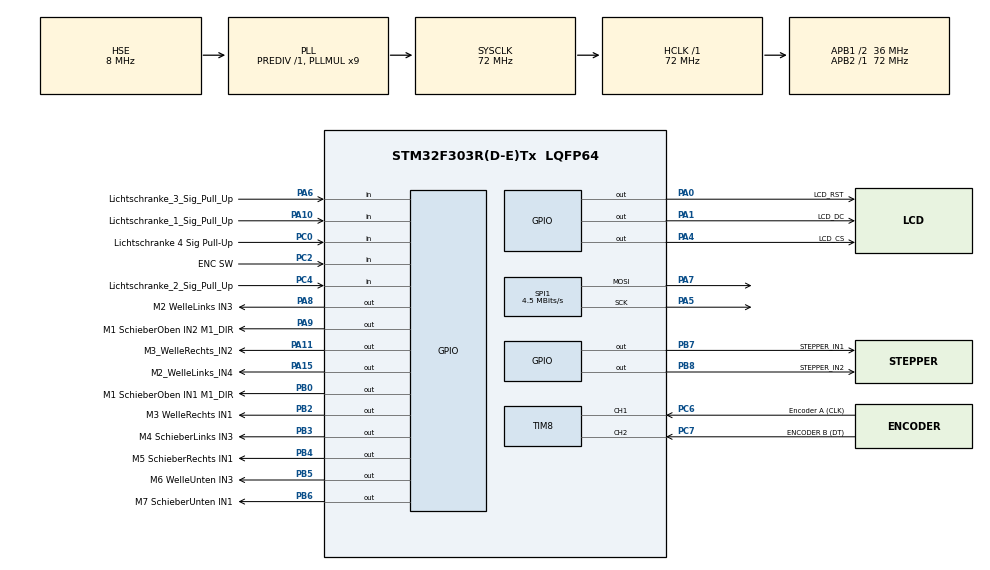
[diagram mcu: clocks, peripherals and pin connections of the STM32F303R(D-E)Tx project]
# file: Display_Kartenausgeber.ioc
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Mcu.Family=STM32F3
Mcu.Name=STM32F303R(D-E)Tx
Mcu.Package=LQFP64
NVIC.PriorityGroup=NVIC_PRIORITYGROUP_4
PA0.GPIO_Label=LCD_RST
PA0.Signal=GPIO_Output
PA1.GPIO_Label=LCD_DC
PA1.Signal=GPIO_Output
PA10.GPIO_Label=Lichtschranke_1_Sig_Pull_Up
PA10.GPIO_PuPd=GPIO_PULLUP
PA10.Signal=GPIO_Input
PA11.GPIO_Label=M3_WelleRechts_IN2  
PA11.Signal=GPIO_Output
PA13.Mode=Serial_Wire
PA13.Signal=SYS_JTMS-SWDIO
PA14.Mode=Serial_Wire
PA14.Signal=SYS_JTCK-SWCLK
PA15.GPIO_Label=M2_WelleLinks_IN4  
PA15.Signal=GPIO_Output
PA4.GPIO_Label=LCD_CS
PA4.Signal=GPIO_Output
PA5.Mode=TX_Only_Simplex_Unidirect_Master
PA5.Signal=SPI1_SCK
PA6.GPIO_Label=Lichtschranke_3_Sig_Pull_Up
PA6.GPIO_PuPd=GPIO_PULLUP
PA6.Signal=GPIO_Input
PA7.Mode=TX_Only_Simplex_Unidirect_Master
PA7.Signal=SPI1_MOSI
PA8.GPIO_Label=M2 WelleLinks IN3 
PA8.Signal=GPIO_Output
PA9.GPIO_Label=M1 SchieberOben IN2 M1_DIR
PA9.Signal=GPIO_Output
PB0.GPIO_Label=M1 SchieberOben IN1 M1_DIR
PB0.Signal=GPIO_Output
PB2.GPIO_Label=M3 WelleRechts IN1 
PB2.Signal=GPIO_Output
PB3.GPIO_Label=M4 SchieberLinks IN3
PB3.Signal=GPIO_Output
PB4.GPIO_Label=M5 SchieberRechts IN1
PB4.Signal=GPIO_Output
PB5.GPIO_Label=M6 WelleUnten IN3
PB5.Signal=GPIO_Output
PB6.GPIO_Label=M7 SchieberUnten IN1
PB6.Signal=GPIO_Output
PB7.GPIO_Label=STEPPER_IN1
PB7.Signal=GPIO_Output
PB8.GPIO_Label=STEPPER_IN2
PB8.Signal=GPIO_Output
PC0.GPIO_Label=Lichtschranke 4 Sig Pull-Up
PC0.GPIO_PuPd=GPIO_PULLUP
PC0.Signal=GPIO_Input
PC2.GPIO_Label=ENC SW
PC2.GPIO_PuPd=GPIO_PULLUP
PC2.Signal=GPIO_Input
PC4.GPIO_Label=Lichtschranke_2_Sig_Pull_Up
PC4.GPIO_PuPd=GPIO_PULLUP
PC4.Signal=GPIO_Input
PC6.GPIO_Label=Encoder A (CLK)
PC6.GPIO_PuPd=GPIO_PULLUP
PC6.Signal=S_TIM8_CH1
PC7.GPIO_Label=ENCODER B (DT)
PC7.GPIO_PuPd=GPIO_PULLUP
PC7.Signal=S_TIM8_CH2
PF0-OSC_IN.Mode=HSE-External-Clock-Source
PF0-OSC_IN.Signal=RCC_OSC_IN
ProjectManager.HeapSize=0x200
ProjectManager.StackSize=0x400
ProjectManager.TargetToolchain=STM32CubeIDE
RCC.AHBFreq_Value=72000000
RCC.APB1CLKDivider=RCC_HCLK_DIV2
RCC.APB1Freq_Value=36000000
RCC.APB1TimFreq_Value=72000000
RCC.APB2Freq_Value=72000000
RCC.APB2TimFreq_Value=72000000
RCC.CortexFreq_Value=72000000
RCC.HCLKFreq_Value=72000000
RCC.HSE_VALUE=8000000
RCC.HSI_VALUE=8000000
RCC.LSE_VALUE=32768
RCC.PLLMUL=RCC_PLL_MUL9
RCC.PLLSourceVirtual=RCC_PLLSOURCE_HSE
RCC.SYSCLKFreq_VALUE=72000000
RCC.SYSCLKSourceVirtual=RCC_SYSCLKSOURCE_PLLCLK
RCC.USBFreq_Value=72000000
SH.S_TIM8_CH1.0=TIM8_CH1,Encoder_Interface
SH.S_TIM8_CH2.0=TIM8_CH2,Encoder_Interface
SPI1.BaudRatePrescaler=SPI_BAUDRATEPRESCALER_16
SPI1.CLKPhase=SPI_PHASE_1EDGE
SPI1.CLKPolarity=SPI_POLARITY_LOW
SPI1.CalculateBaudRate=4.5 MBits/s
SPI1.DataSize=SPI_DATASIZE_8BIT
SPI1.Direction=SPI_DIRECTION_2LINES
SPI1.Mode=SPI_MODE_MASTER
SPI1.VirtualType=VM_MASTER
TIM1.Prescaler=71
TIM8.EncoderMode=TIM_ENCODERMODE_TI12
TIM8.IC1Filter=10
TIM8.IC2Filter=10
VP_TIM1_VS_ClockSourceINT.Mode=Internal
board=custom

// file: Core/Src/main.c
/* USER CODE BEGIN Header */
/**
 ******************************************************************************
 * @file           : main.c
 * @brief          : Main program body
 ******************************************************************************
 * @attention
 *
 * Copyright (c) 2025 STMicroelectronics.
 * All rights reserved.
 *
 * This software is licensed under terms that can be found in the LICENSE file
 * in the root directory of this software component.
 * If no LICENSE file comes with this software, it is provided AS-IS.
 *
 ******************************************************************************
 */
/* USER CODE END Header */
#include "main.h"

/* USER CODE BEGIN Includes */
#include <stdio.h> // Fuer sprintf
#include <stdlib.h>

// Immer einbinden, damit die Funktionen bekannt sind
#include "ILI9341_STM32_Driver.h"
#include "ILI9341_GFX.h"
#include "menu_logic.h"

#include "motor_logic.h"
#include "lichtschranke_logic.h"
/* USER CODE END Includes */

/* USER CODE BEGIN PD */
// 0 = Display/Drehgeber nicht angeschlossen (nur M1 + Lichtschranke-Test, dann Phasen 1-3)
// 1 = Display + Encoder aktiv (Menü, Spieleranzahl, Meldungen)
#define DISPLAY_ENCODER_CONNECTED 1
/* USER CODE END PD */

SPI_HandleTypeDef hspi1;

TIM_HandleTypeDef htim1;
TIM_HandleTypeDef htim8;

/* USER CODE BEGIN PV */

// Startzustand: System steht, wartet auf Tastendruck
volatile SystemState_t g_SystemState = SYSTEM_EMERGENCY_STOP;
volatile uint8_t g_RestartFromTop = 0;

/* USER CODE END PV */

void SystemClock_Config(void);
static void MX_GPIO_Init(void);
static void MX_TIM8_Init(void);
static void MX_SPI1_Init(void);
static void MX_TIM1_Init(void);
/* USER CODE BEGIN PFP */

void All_Motors_Stop_Immediate(void);
void Display_Reinit(void);  // aus menu_logic.c

/* USER CODE END PFP */

/* USER CODE BEGIN 0 */

// Prüft die Drehgeber-Taste (ENC_SW, aktiv LOW) und schaltet RUN <-> EMERGENCY_STOP
// Kurz-Druck: Start/Stop wie bisher
// Lang-Druck (>1s, nur im Stopp-Zustand): Display-Reinit (ILI9341 neu initialisieren)
void Check_Encoder_Button(void)
{
  static GPIO_PinState last = GPIO_PIN_SET; // Pull-Up: nicht gedrückt = HIGH
  GPIO_PinState now = HAL_GPIO_ReadPin(ENC_SW_GPIO_Port, ENC_SW_Pin);

  // Flanke HIGH -> LOW
  if (now == GPIO_PIN_RESET && last == GPIO_PIN_SET) {
    HAL_Delay(30); // Entprellen
    now = HAL_GPIO_ReadPin(ENC_SW_GPIO_Port, ENC_SW_Pin);
    if (now == GPIO_PIN_RESET) {
      uint32_t t_start = HAL_GetTick();

      // Warten bis Taste losgelassen ist und dabei Dauer messen
      while (HAL_GPIO_ReadPin(ENC_SW_GPIO_Port, ENC_SW_Pin) == GPIO_PIN_RESET) {
        HAL_Delay(10);
      }
      uint32_t press_time = HAL_GetTick() - t_start;

      // Langer Druck: Display neu initialisieren (nur im Stopp-Zustand sinnvoll)
      if (press_time > 1000 && g_SystemState == SYSTEM_EMERGENCY_STOP) {
        Display_Reinit();
        g_RestartFromTop = 0;
        // System bleibt im EMERGENCY_STOP, Benutzer kann danach normal starten
      } else {
        // Kurzer Druck: normales Start/Stop-Verhalten
        if (g_SystemState == SYSTEM_RUN) {
          // -> echter Not-Stopp
          g_SystemState = SYSTEM_EMERGENCY_STOP;
          All_Motors_Stop_Immediate();
        } else {
          // -> Neustart von oben
          g_RestartFromTop = 1;
          g_SystemState = SYSTEM_RUN;
        }
      }
    }
  }
  last = now;
}

/* USER CODE END 0 */

int main(void)
{

  /* MCU Configuration--------------------------------------------------------*/

  /* Reset of all peripherals, Initializes the Flash interface and the Systick. */
  HAL_Init();

  /* Configure the system clock */
  SystemClock_Config();

  /* Initialize all configured peripherals */
  MX_GPIO_Init();
  MX_TIM8_Init();
  MX_SPI1_Init();
  MX_TIM1_Init();
  /* USER CODE BEGIN 2 */

  // WICHTIG: Alle Motoren sofort stoppen beim Start (verhindert ungewolltes Anlaufen)
  // Mehrfaches Setzen der Pins für robuste Initialisierung der L298N H-Brücke
  All_Motors_Stop_Immediate();
  HAL_Delay(10); // Kurze Pause für Pin-Stabilisierung
  All_Motors_Stop_Immediate(); // Zweites Setzen für Sicherheit
  HAL_Delay(10);
  All_Motors_Stop_Immediate(); // Drittes Setzen für maximale Sicherheit

  HAL_Delay(500); // Power stabilization delay
  HAL_TIM_Base_Start(&htim1); // Start Timer for delay_us

  // --- SICHERER START ---
  HAL_GPIO_WritePin(LCD_CS_GPIO_Port, LCD_CS_Pin, GPIO_PIN_SET);
  HAL_GPIO_WritePin(LCD_DC_GPIO_Port, LCD_DC_Pin, GPIO_PIN_SET);
  HAL_GPIO_WritePin(LCD_RST_GPIO_Port, LCD_RST_Pin, GPIO_PIN_SET);
  HAL_Delay(100);

#if DISPLAY_ENCODER_CONNECTED
  // Harter Display-Reset vor Init, damit ILI9341 aus jedem Zustand sauber startet
  HAL_GPIO_WritePin(LCD_RST_GPIO_Port, LCD_RST_Pin, GPIO_PIN_RESET);
  HAL_Delay(50);
  HAL_GPIO_WritePin(LCD_RST_GPIO_Port, LCD_RST_Pin, GPIO_PIN_SET);
  HAL_Delay(150);

  Menu_Init();
  Menu_Show_Message("STEP 1", "Display Init 1");
  HAL_Delay(500);

  // Schritt 2: Warten auf Start-Tastendruck
  Menu_Show_Message("STEP 2", "Warte auf Start");
  HAL_Delay(300);
  Menu_Wait_For_Start();

  // Schritt 3 ff.: Erstkonfiguration (Modus, Spieler, Karten)
  Menu_Show_Message("STEP 3", "Moduswahl");
  HAL_Delay(300);

  int modus = Menu_Select_Modus(); // 0 = Alle Karten, 1 = X Karten, 2 = Flush
  int spieler = 0;
  if (modus == 0 || modus == 1) {
    Menu_Show_Message("STEP 4", "Spielerwahl");
    HAL_Delay(300);
    spieler = Menu_Select_Player_Count();
  }

  int karten_pro_spieler = 99;     // 99 = Alle Karten
  if (modus == 1) {
      karten_pro_spieler = Menu_Select_Karten_Count();
  }

  Menu_Show_Confirmation(spieler, modus, karten_pro_spieler);

  if (modus == 0 || modus == 1) {
    char buf[20];
    sprintf(buf, "%d Spieler", spieler);
    Menu_Show_Message("LOS GEHT'S!", buf);
  } else {
    Menu_Show_Message("LOS GEHT'S!", "Flush Modus");
  }
  HAL_Delay(1500);

  ILI9341_Fill_Screen(BLACK);
  Menu_Show_Message("BEREIT", "Encoder Start");
  HAL_Delay(1000);

  // Ab hier uebernimmt die Hauptlogik in der while(1)-Schleife
#else
  // ===== OHNE DISPLAY: Sensor-Steuerung über PC0 (Lichtschranke 4) =====
  (void)0;
#endif

  /*
   * Diagnose-Blinken entfernt für schnelleren Start.
   * System ist bereit.
   */

#if DISPLAY_ENCODER_CONNECTED
  // Lichtschranke_M1_Test_Run(60000);
#endif

  /* USER CODE END 2 */

  /* Infinite loop */
  while (1) {

    /* USER CODE BEGIN 3 */

// Alte Hauptlogik beibehalten (Standard aktiv lassen)
#if 0

#if DISPLAY_ENCODER_CONNECTED
    // ===== MIT DISPLAY: Phasen 1-3 wie bisher =====
    Menu_Show_Message("Phase 1", "Sortieren...");
    g_SystemState = SYSTEM_RUN;  // Wichtig: System muss auf RUN sein, damit neue Phase 1 funktioniert
    Phase1_Sortieren_1Minute();
    Menu_Show_Message("Phase 2", "Transport...");
    Phase2_Transport_1Minute();
    Menu_Show_Message("Phase 3", "Verteilen...");
    Phase3_Auswurf(spieler);
    Menu_Show_Message("FERTIG", "Neustart in 5s");
    HAL_Delay(5000);
#else
    // ===== OHNE DISPLAY: Automatischer Phasen-Test (Wie früher) =====

    // 1. Minute: Sortieren
    g_SystemState = SYSTEM_RUN;  // Wichtig: System muss auf RUN sein, damit neue Phase 1 funktioniert
    Phase1_Sortieren_1Minute();
    HAL_Delay(1000);

    // 2. Minute: Transport
    Phase2_Transport_1Minute();
    HAL_Delay(1000);

    // 3. Auswurf (Test mit 4 Spielern)
    Phase3_Auswurf(4);

    HAL_Delay(5000); // Pause vor Neustart
#endif

#endif // Ende alte Hauptlogik

// Neue Hauptlogik: Not-Stopp & Sensorbasierte Phasen (zunächst deaktiviert)
#if 1
    // 1. Warten, bis System per Drehgeber-Taste gestartet wird
    while (g_SystemState == SYSTEM_EMERGENCY_STOP) {
      Check_Encoder_Button();
      HAL_Delay(50);
    }

    if (g_RestartFromTop) {
      g_RestartFromTop = 0;

#if DISPLAY_ENCODER_CONNECTED
      static uint8_t s_first_run_done = 0;

      // Ab dem zweiten Durchlauf nachfragen, ob gleicher Modus oder neue Konfiguration
      if (s_first_run_done) {
        int reuse = Menu_Ask_Repeat_Mode(modus, spieler, karten_pro_spieler);
        if (!reuse) {
          // Neue Konfiguration von vorne
          Menu_Show_Message("STEP 3", "Moduswahl");
          HAL_Delay(300);
          modus = Menu_Select_Modus();

          spieler = 0;
          if (modus == 0 || modus == 1) {
            Menu_Show_Message("STEP 4", "Spielerwahl");
            HAL_Delay(300);
            spieler = Menu_Select_Player_Count();
          }

          karten_pro_spieler = 99;
          if (modus == 1) {
            karten_pro_spieler = Menu_Select_Karten_Count();
          }

          Menu_Show_Confirmation(spieler, modus, karten_pro_spieler);
        }
      }
      s_first_run_done = 1;

      int spieler_local = spieler;  // Spieleranzahl aus dem (ggf. neuen) Menü übernehmen
#else
      int spieler_local = 4;        // Default ohne Display
#endif

      // Phase 1: Sortieren mit Sensor oben
#if DISPLAY_ENCODER_CONNECTED
      Menu_Show_Message("Phase 1", "Sortieren...");
#endif
      Phase1_Sortieren_1Minute();
      if (g_SystemState == SYSTEM_EMERGENCY_STOP) continue;

      // Phase 2: Transport mit Sensor in der Mitte
#if DISPLAY_ENCODER_CONNECTED
      Menu_Show_Message("Phase 2", "Transport...");
#endif
      Phase2_Transport_1Minute();
      if (g_SystemState == SYSTEM_EMERGENCY_STOP) continue;

      // Phase 3: je nach gewähltem Modus
#if DISPLAY_ENCODER_CONNECTED
      if (modus == 2) {
        Menu_Show_Message("Phase 3", "Flush...");
        Phase3_Flush();
      } else {
        Menu_Show_Message("Phase 3", "Verteilen...");
        Phase3_Auswurf(spieler_local, karten_pro_spieler);
      }
#else
      // Ohne Display: immer alle Karten verteilen (99 = Alle)
      Phase3_Auswurf(spieler_local, 99);
#endif

#if DISPLAY_ENCODER_CONNECTED
      // Abschlussanzeige, wenn alle Karten verteilt sind bzw. Kartenlimit erreicht
      Menu_Show_Message("FERTIG", "Druecke Start neu");
#endif
      // Phase 3 kann am Ende g_SystemState = SYSTEM_EMERGENCY_STOP setzen,
      // damit auf erneuten Tastendruck gewartet wird.
    }
#endif // Ende neue Hauptlogik

  }
  /* USER CODE END 3 */
}

void SystemClock_Config(void)
{
  RCC_OscInitTypeDef RCC_OscInitStruct = {0};
  RCC_ClkInitTypeDef RCC_ClkInitStruct = {0};
  RCC_PeriphCLKInitTypeDef PeriphClkInit = {0};

  /** Initializes the RCC Oscillators according to the specified parameters
  * in the RCC_OscInitTypeDef structure.
  */
  RCC_OscInitStruct.OscillatorType = RCC_OSCILLATORTYPE_HSE;
  RCC_OscInitStruct.HSEState = RCC_HSE_BYPASS;
  RCC_OscInitStruct.HSIState = RCC_HSI_ON;
  RCC_OscInitStruct.PLL.PLLState = RCC_PLL_ON;
  RCC_OscInitStruct.PLL.PLLSource = RCC_PLLSOURCE_HSE;
  RCC_OscInitStruct.PLL.PLLMUL = RCC_PLL_MUL9;
  RCC_OscInitStruct.PLL.PREDIV = RCC_PREDIV_DIV1;
  if (HAL_RCC_OscConfig(&RCC_OscInitStruct) != HAL_OK)
  {
    Error_Handler();
  }

  /** Initializes the CPU, AHB and APB buses clocks
  */
  RCC_ClkInitStruct.ClockType = RCC_CLOCKTYPE_HCLK|RCC_CLOCKTYPE_SYSCLK
                              |RCC_CLOCKTYPE_PCLK1|RCC_CLOCKTYPE_PCLK2;
  RCC_ClkInitStruct.SYSCLKSource = RCC_SYSCLKSOURCE_PLLCLK;
  RCC_ClkInitStruct.AHBCLKDivider = RCC_SYSCLK_DIV1;
  RCC_ClkInitStruct.APB1CLKDivider = RCC_HCLK_DIV2;
  RCC_ClkInitStruct.APB2CLKDivider = RCC_HCLK_DIV1;

  if (HAL_RCC_ClockConfig(&RCC_ClkInitStruct, FLASH_LATENCY_2) != HAL_OK)
  {
    Error_Handler();
  }
  PeriphClkInit.PeriphClockSelection = RCC_PERIPHCLK_TIM1|RCC_PERIPHCLK_TIM8;
  PeriphClkInit.Tim1ClockSelection = RCC_TIM1CLK_HCLK;
  PeriphClkInit.Tim8ClockSelection = RCC_TIM8CLK_HCLK;
  if (HAL_RCCEx_PeriphCLKConfig(&PeriphClkInit) != HAL_OK)
  {
    Error_Handler();
  }
}

static void MX_SPI1_Init(void)
{

  /* SPI1 parameter configuration*/
  hspi1.Instance = SPI1;
  hspi1.Init.Mode = SPI_MODE_MASTER;
  hspi1.Init.Direction = SPI_DIRECTION_2LINES; // Standard Full Duplex (MISO not connected via MSP)
  hspi1.Init.DataSize = SPI_DATASIZE_8BIT;
  hspi1.Init.CLKPolarity = SPI_POLARITY_LOW;
  hspi1.Init.CLKPhase = SPI_PHASE_1EDGE;
  hspi1.Init.NSS = SPI_NSS_SOFT;
  hspi1.Init.BaudRatePrescaler = SPI_BAUDRATEPRESCALER_16; // ~4.5 MHz (stabiler bei Jumper-Wires)
  hspi1.Init.FirstBit = SPI_FIRSTBIT_MSB;
  hspi1.Init.TIMode = SPI_TIMODE_DISABLE;
  hspi1.Init.CRCCalculation = SPI_CRCCALCULATION_DISABLE;
  hspi1.Init.CRCPolynomial = 7;
  hspi1.Init.CRCLength = SPI_CRC_LENGTH_DATASIZE;
  hspi1.Init.NSSPMode = SPI_NSS_PULSE_DISABLE;

  if (HAL_SPI_Init(&hspi1) != HAL_OK)
  {
    Error_Handler();
  }

}

static void MX_TIM1_Init(void)
{

  TIM_ClockConfigTypeDef sClockSourceConfig = {0};
  TIM_MasterConfigTypeDef sMasterConfig = {0};

  htim1.Instance = TIM1;
  htim1.Init.Prescaler = 71;
  htim1.Init.CounterMode = TIM_COUNTERMODE_UP;
  htim1.Init.Period = 65535;
  htim1.Init.ClockDivision = TIM_CLOCKDIVISION_DIV1;
  htim1.Init.RepetitionCounter = 0;
  htim1.Init.AutoReloadPreload = TIM_AUTORELOAD_PRELOAD_DISABLE;
  if (HAL_TIM_Base_Init(&htim1) != HAL_OK)
  {
    Error_Handler();
  }
  sClockSourceConfig.ClockSource = TIM_CLOCKSOURCE_INTERNAL;
  if (HAL_TIM_ConfigClockSource(&htim1, &sClockSourceConfig) != HAL_OK)
  {
    Error_Handler();
  }
  sMasterConfig.MasterOutputTrigger = TIM_TRGO_RESET;
  sMasterConfig.MasterOutputTrigger2 = TIM_TRGO2_RESET;
  sMasterConfig.MasterSlaveMode = TIM_MASTERSLAVEMODE_DISABLE;
  if (HAL_TIMEx_MasterConfigSynchronization(&htim1, &sMasterConfig) != HAL_OK)
  {
    Error_Handler();
  }

}

static void MX_TIM8_Init(void)
{

  TIM_Encoder_InitTypeDef sConfig = {0};
  TIM_MasterConfigTypeDef sMasterConfig = {0};

  htim8.Instance = TIM8;
  htim8.Init.Prescaler = 0;
  htim8.Init.CounterMode = TIM_COUNTERMODE_UP;
  htim8.Init.Period = 65535;
  htim8.Init.ClockDivision = TIM_CLOCKDIVISION_DIV1;
  htim8.Init.RepetitionCounter = 0;
  htim8.Init.AutoReloadPreload = TIM_AUTORELOAD_PRELOAD_DISABLE;
  sConfig.EncoderMode = TIM_ENCODERMODE_TI12;
  sConfig.IC1Polarity = TIM_ICPOLARITY_RISING;
  sConfig.IC1Selection = TIM_ICSELECTION_DIRECTTI;
  sConfig.IC1Prescaler = TIM_ICPSC_DIV1;
  sConfig.IC1Filter = 10;
  sConfig.IC2Polarity = TIM_ICPOLARITY_RISING;
  sConfig.IC2Selection = TIM_ICSELECTION_DIRECTTI;
  sConfig.IC2Prescaler = TIM_ICPSC_DIV1;
  sConfig.IC2Filter = 10;
  if (HAL_TIM_Encoder_Init(&htim8, &sConfig) != HAL_OK)
  {
    Error_Handler();
  }
  sMasterConfig.MasterOutputTrigger = TIM_TRGO_RESET;
  sMasterConfig.MasterOutputTrigger2 = TIM_TRGO2_RESET;
  sMasterConfig.MasterSlaveMode = TIM_MASTERSLAVEMODE_DISABLE;
  if (HAL_TIMEx_MasterConfigSynchronization(&htim8, &sMasterConfig) != HAL_OK)
  {
    Error_Handler();
  }

}

static void MX_GPIO_Init(void)
{
  GPIO_InitTypeDef GPIO_InitStruct = {0};

  /* GPIO Ports Clock Enable */
  __HAL_RCC_GPIOF_CLK_ENABLE();
  __HAL_RCC_GPIOC_CLK_ENABLE();
  __HAL_RCC_GPIOA_CLK_ENABLE();
  __HAL_RCC_GPIOB_CLK_ENABLE();

  /*Configure GPIO pin Output Level */
  HAL_GPIO_WritePin(GPIOA, LCD_RST_Pin|LCD_DC_Pin|LCD_CS_Pin, GPIO_PIN_SET);
  HAL_GPIO_WritePin(GPIOA, M2_WelleLinks_IN3_Pin|M1_SchieberOben_IN2_M1_DIR_Pin
                          |M3_WelleRechts_IN2_Pin|M2_WelleLinks_IN4_Pin, GPIO_PIN_RESET);

  /*Configure GPIO pin Output Level */
  HAL_GPIO_WritePin(GPIOB, M1_SchieberOben_IN1_M1_DIR_Pin|M3_WelleRechts_IN1_Pin|M4_SchieberLinks_IN3_Pin|M5_SchieberRechts_IN1_Pin
                          |M6_WelleUnten_IN3_Pin|M7_SchieberUnten_IN1_Pin|STEPPER_IN1_Pin|STEPPER_IN2_Pin, GPIO_PIN_RESET);

  /*Configure GPIO pins : Lichtschranke_4_Sig_Pull_Up_Pin ENC_SW_Pin Lichtschranke_2_Sig_Pull_Up_Pin */
  GPIO_InitStruct.Pin = Lichtschranke_4_Sig_Pull_Up_Pin|ENC_SW_Pin|Lichtschranke_2_Sig_Pull_Up_Pin;
  GPIO_InitStruct.Mode = GPIO_MODE_INPUT;
  GPIO_InitStruct.Pull = GPIO_PULLUP;
  HAL_GPIO_Init(GPIOC, &GPIO_InitStruct);

  /*Configure GPIO pins : LCD_RST_Pin LCD_DC_Pin LCD_CS_Pin M2_WelleLinks_IN3_Pin
                           M1_SchieberOben_IN2_M1_DIR_Pin M3_WelleRechts_IN2_Pin M2_WelleLinks_IN4_Pin */
  GPIO_InitStruct.Pin = LCD_RST_Pin|LCD_DC_Pin|LCD_CS_Pin|M2_WelleLinks_IN3_Pin
                          |M1_SchieberOben_IN2_M1_DIR_Pin|M3_WelleRechts_IN2_Pin|M2_WelleLinks_IN4_Pin;
  GPIO_InitStruct.Mode = GPIO_MODE_OUTPUT_PP;
  GPIO_InitStruct.Pull = GPIO_NOPULL;
  GPIO_InitStruct.Speed = GPIO_SPEED_FREQ_LOW;
  HAL_GPIO_Init(GPIOA, &GPIO_InitStruct);

  /*Configure GPIO pins : Lichtschranke_3_Sig_Pull_Up_Pin Lichtschranke_1_Sig_Pull_Up_Pin */
  GPIO_InitStruct.Pin = Lichtschranke_3_Sig_Pull_Up_Pin|Lichtschranke_1_Sig_Pull_Up_Pin;
  GPIO_InitStruct.Mode = GPIO_MODE_INPUT;
  GPIO_InitStruct.Pull = GPIO_PULLUP;
  HAL_GPIO_Init(GPIOA, &GPIO_InitStruct);

  /*Configure GPIO pins : M1_SchieberOben_IN1_M1_DIR_Pin M3_WelleRechts_IN1_Pin M4_SchieberLinks_IN3_Pin M5_SchieberRechts_IN1_Pin
                           M6_WelleUnten_IN3_Pin M7_SchieberUnten_IN1_Pin STEPPER_IN1_Pin STEPPER_IN2_Pin */
  GPIO_InitStruct.Pin = M1_SchieberOben_IN1_M1_DIR_Pin|M3_WelleRechts_IN1_Pin|M4_SchieberLinks_IN3_Pin|M5_SchieberRechts_IN1_Pin
                          |M6_WelleUnten_IN3_Pin|M7_SchieberUnten_IN1_Pin|STEPPER_IN1_Pin|STEPPER_IN2_Pin;
  GPIO_InitStruct.Mode = GPIO_MODE_OUTPUT_PP;
  GPIO_InitStruct.Pull = GPIO_NOPULL;
  GPIO_InitStruct.Speed = GPIO_SPEED_FREQ_LOW;
  HAL_GPIO_Init(GPIOB, &GPIO_InitStruct);

/* USER CODE BEGIN MX_GPIO_Init_2 */
   // 1. Erstmal CS auf High setzen, damit das Display nicht versehentlich angesprochen wird
  HAL_GPIO_WritePin(LCD_CS_GPIO_Port, LCD_CS_Pin, GPIO_PIN_SET);

   // 2. Pins konfigurieren (High Speed ist wichtig für SPI!)
  GPIO_InitStruct.Pin = LCD_RST_Pin|LCD_DC_Pin|LCD_CS_Pin;
  GPIO_InitStruct.Mode = GPIO_MODE_OUTPUT_PP;
  GPIO_InitStruct.Pull = GPIO_NOPULL; // Externer Pullup an CS wäre besser, aber NOPULL geht meist
  GPIO_InitStruct.Speed = GPIO_SPEED_FREQ_HIGH; // WICHTIG!
  HAL_GPIO_Init(GPIOA, &GPIO_InitStruct);

  // 3. WICHTIG: Alle Motor-Pins explizit auf RESET setzen (verhindert Floating bei L298N)
  // Dies muss NACH der GPIO-Init passieren, damit die Pins sicher konfiguriert sind
  // M2: Beide Richtungspins explizit auf RESET
  HAL_GPIO_WritePin(M2_WelleLinks_IN3_GPIO_Port, M2_WelleLinks_IN3_Pin, GPIO_PIN_RESET);
  HAL_GPIO_WritePin(M2_WelleLinks_IN4_GPIO_Port, M2_WelleLinks_IN4_Pin, GPIO_PIN_RESET);
  // M1: Beide Richtungspins explizit auf RESET
  HAL_GPIO_WritePin(M1_SchieberOben_IN1_M1_DIR_GPIO_Port, M1_SchieberOben_IN1_M1_DIR_Pin, GPIO_PIN_RESET);
  HAL_GPIO_WritePin(M1_SchieberOben_IN2_M1_DIR_GPIO_Port, M1_SchieberOben_IN2_M1_DIR_Pin, GPIO_PIN_RESET);
  // M3: Beide Richtungspins explizit auf RESET
  HAL_GPIO_WritePin(M3_WelleRechts_IN1_GPIO_Port, M3_WelleRechts_IN1_Pin, GPIO_PIN_RESET);
  HAL_GPIO_WritePin(M3_WelleRechts_IN2_GPIO_Port, M3_WelleRechts_IN2_Pin, GPIO_PIN_RESET);
  // M4, M5, M6, M7, Stepper: Alle auf RESET
  HAL_GPIO_WritePin(M4_SchieberLinks_IN3_GPIO_Port, M4_SchieberLinks_IN3_Pin, GPIO_PIN_RESET);
  HAL_GPIO_WritePin(M5_SchieberRechts_IN1_GPIO_Port, M5_SchieberRechts_IN1_Pin, GPIO_PIN_RESET);
  HAL_GPIO_WritePin(M6_WelleUnten_IN3_GPIO_Port, M6_WelleUnten_IN3_Pin, GPIO_PIN_RESET);
  HAL_GPIO_WritePin(M7_SchieberUnten_IN1_GPIO_Port, M7_SchieberUnten_IN1_Pin, GPIO_PIN_RESET);
  HAL_GPIO_WritePin(STEPPER_IN1_GPIO_Port, STEPPER_IN1_Pin, GPIO_PIN_RESET);
  HAL_GPIO_WritePin(STEPPER_IN2_GPIO_Port, STEPPER_IN2_Pin, GPIO_PIN_RESET);
/* USER CODE END MX_GPIO_Init_2 */
}

/* USER CODE BEGIN 4 */
// Microsecond Delay Function (supports >65ms via chunking)
void delay_us(uint32_t us)
{
    // Handle long delays in 60000µs chunks to avoid 16-bit timer overflow
    while (us > 60000U) {
        __HAL_TIM_SET_COUNTER(&htim1, 0);
        while (__HAL_TIM_GET_COUNTER(&htim1) < 60000U);
        us -= 60000U;
    }

    __HAL_TIM_SET_COUNTER(&htim1, 0);
    while (__HAL_TIM_GET_COUNTER(&htim1) < us);
}
/* USER CODE END 4 */

void Error_Handler(void)
{
	__disable_irq();
	while (1) {
	}
}
